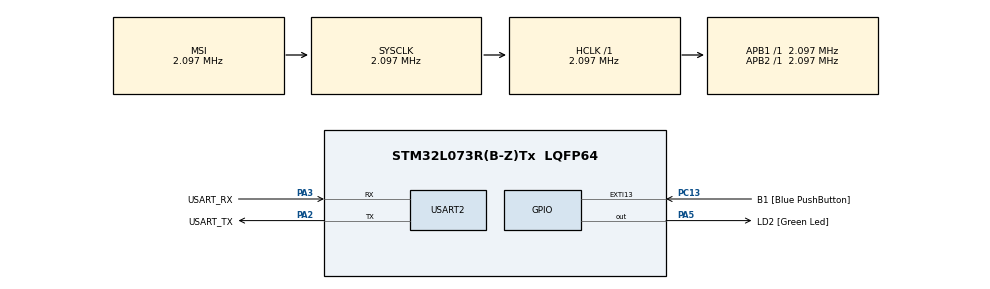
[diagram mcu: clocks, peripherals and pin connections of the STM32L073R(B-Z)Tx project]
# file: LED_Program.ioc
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Mcu.Family=STM32L0
Mcu.Name=STM32L073R(B-Z)Tx
Mcu.Package=LQFP64
PA13.GPIO_Label=TMS
PA13.Mode=Serial_Wire
PA13.Signal=SYS_SWDIO
PA14.GPIO_Label=TCK
PA14.Mode=Serial_Wire
PA14.Signal=SYS_SWCLK
PA2.GPIO_Label=USART_TX
PA2.Mode=Asynchronous
PA2.Signal=USART2_TX
PA3.GPIO_Label=USART_RX
PA3.Mode=Asynchronous
PA3.Signal=USART2_RX
PA5.GPIO_Label=LD2 [Green Led]
PA5.Signal=GPIO_Output
PC13.GPIO_Label=B1 [Blue PushButton]
PC13.GPIO_ModeDefaultEXTI=GPIO_MODE_IT_FALLING
PC13.Signal=GPXTI13
PC14-OSC32_IN.Mode=LSE-External-Oscillator
PC14-OSC32_IN.Signal=RCC_OSC32_IN
PC15-OSC32_OUT.Mode=LSE-External-Oscillator
PC15-OSC32_OUT.Signal=RCC_OSC32_OUT
PH0-OSC_IN.GPIO_Label=MCO
PH0-OSC_IN.Mode=HSE-External-Clock-Source
PH0-OSC_IN.Signal=RCC_OSC_IN
ProjectManager.HeapSize=0x200
ProjectManager.StackSize=0x400
ProjectManager.TargetToolchain=STM32CubeIDE
RCC.AHBFreq_Value=2097000
RCC.APB1Freq_Value=2097000
RCC.APB1TimFreq_Value=2097000
RCC.APB2Freq_Value=2097000
RCC.APB2TimFreq_Value=2097000
RCC.HSE_VALUE=8000000
RCC.HSI16_VALUE=16000000
RCC.HSI48_VALUE=48000000
RCC.HSI_VALUE=16000000
RCC.MSI_VALUE=2097000
RCC.SYSCLKFreq_VALUE=2097000
RCC.VCOOutputFreq_Value=48000000
USART2.VirtualMode-Asynchronous=VM_ASYNC
board=NUCLEO-L073RZ

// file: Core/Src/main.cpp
/* USER CODE BEGIN Header */
/**
  ******************************************************************************
  * @file           : main.c
  * @brief          : Main program body
  ******************************************************************************
  * @attention
  *
  * <h2><center>&copy; Copyright (c) 2020 STMicroelectronics.
  * All rights reserved.</center></h2>
  *
  * This software component is licensed by ST under BSD 3-Clause license,
  * the "License"; You may not use this file except in compliance with the
  * License. You may obtain a copy of the License at:
  *                        opensource.org/licenses/BSD-3-Clause
  *
  ******************************************************************************
  */
/* USER CODE END Header */
#include "main.h"

/* USER CODE BEGIN Includes */

#include <cstdint>

/* USER CODE END Includes */

UART_HandleTypeDef huart2;

void SystemClock_Config(void);
static void MX_GPIO_Init(void);
static void MX_USART2_UART_Init(void);

/* USER CODE BEGIN 0 */

//class led{
//public:
//	// use convenient class-specific typedefs
//	//book typedef std::uint8_t port_type;
//	typedef std::uint16_t pin_type;
//
//	// the led class constructor
//	led(GPIO_TypeDef * port	, pin_type pin) : port(port), pin(pin) {
//		// set the port pin value to low
//		HAL_GPIO_WritePin(port, pin, GPIO_PIN_RESET);
//	}
//
//	void toggle() const{
//		HAL_GPIO_TogglePin(port, pin);
//	}
//
//
//private:
//	// private member variables of the class
//	GPIO_TypeDef * const port;
//	const pin_type pin;
//
//};
//
//namespace {
//	// create led2 on A5
//	const led led2 {
//		LD2_GPIO_Port,
//		LD2_Pin
//	};
//}

//class led{
//public:
//	// use convenient class-specific typedefs
//	typedef std::uint32_t port_type;
//	typedef std::uint32_t bval_type;
//
//	// the led class constructor
//	led(const port_type p, const bval_type b)
//		: port(p), bval(b) {
//		// set the port pin value to low
//		*reinterpret_cast<volatile bval_type*>(port) &= static_cast<bval_type>(~bval);
//	}
//
//	void toggle() const{
//		// toggle led via direct memory access
//		*reinterpret_cast<volatile bval_type*>(port) ^= bval;
//	}
//
//private:
//	// private member variables of the class
//	const port_type port;
//	const bval_type bval;
//
//};
//
//namespace {
//	// create led2 on A5
//	const led led2 {
//		reinterpret_cast<led::port_type>(&GPIOA->ODR),
//		LD2_Pin
//	};
//}

template<typename port_type,
		typename bval_type,
		const port_type port,
		const bval_type bval>
class led_template{
public:
	led_template(){
		// set the port pin value to low
		*reinterpret_cast<volatile bval_type*>(port) &= static_cast<bval_type>(~bval);
	}

	void toggle() const{
		// toggle led via direct memory access
		*reinterpret_cast<volatile bval_type*>(port) ^= bval;
	}

};

namespace {
	// create led2 on A5
	const led_template<std::uint32_t,
						std::uint32_t,
						0x50000014,		// i don't know how toset it usun GPIOA
						LD2_Pin> led2;
}

/* USER CODE END 0 */

int main(void)
{

  /* MCU Configuration--------------------------------------------------------*/

  /* Reset of all peripherals, Initializes the Flash interface and the Systick. */
  HAL_Init();

  /* Configure the system clock */
  SystemClock_Config();

  /* Initialize all configured peripherals */
  MX_GPIO_Init();
  MX_USART2_UART_Init();

  /* Infinite loop */
  while (1)
  {
	  led2.toggle();
	  HAL_Delay(100);
  }
}

void SystemClock_Config(void)
{
  RCC_OscInitTypeDef RCC_OscInitStruct = {0};
  RCC_ClkInitTypeDef RCC_ClkInitStruct = {0};
  RCC_PeriphCLKInitTypeDef PeriphClkInit = {0};

  /** Configure the main internal regulator output voltage
  */
  __HAL_PWR_VOLTAGESCALING_CONFIG(PWR_REGULATOR_VOLTAGE_SCALE1);
  /** Initializes the RCC Oscillators according to the specified parameters
  * in the RCC_OscInitTypeDef structure.
  */
  RCC_OscInitStruct.OscillatorType = RCC_OSCILLATORTYPE_MSI;
  RCC_OscInitStruct.MSIState = RCC_MSI_ON;
  RCC_OscInitStruct.MSICalibrationValue = 0;
  RCC_OscInitStruct.MSIClockRange = RCC_MSIRANGE_5;
  RCC_OscInitStruct.PLL.PLLState = RCC_PLL_NONE;
  if (HAL_RCC_OscConfig(&RCC_OscInitStruct) != HAL_OK)
  {
    Error_Handler();
  }
  /** Initializes the CPU, AHB and APB buses clocks
  */
  RCC_ClkInitStruct.ClockType = RCC_CLOCKTYPE_HCLK|RCC_CLOCKTYPE_SYSCLK
                              |RCC_CLOCKTYPE_PCLK1|RCC_CLOCKTYPE_PCLK2;
  RCC_ClkInitStruct.SYSCLKSource = RCC_SYSCLKSOURCE_MSI;
  RCC_ClkInitStruct.AHBCLKDivider = RCC_SYSCLK_DIV1;
  RCC_ClkInitStruct.APB1CLKDivider = RCC_HCLK_DIV1;
  RCC_ClkInitStruct.APB2CLKDivider = RCC_HCLK_DIV1;

  if (HAL_RCC_ClockConfig(&RCC_ClkInitStruct, FLASH_LATENCY_0) != HAL_OK)
  {
    Error_Handler();
  }
  PeriphClkInit.PeriphClockSelection = RCC_PERIPHCLK_USART2;
  PeriphClkInit.Usart2ClockSelection = RCC_USART2CLKSOURCE_PCLK1;
  if (HAL_RCCEx_PeriphCLKConfig(&PeriphClkInit) != HAL_OK)
  {
    Error_Handler();
  }
}

static void MX_USART2_UART_Init(void)
{

  huart2.Instance = USART2;
  huart2.Init.BaudRate = 115200;
  huart2.Init.WordLength = UART_WORDLENGTH_8B;
  huart2.Init.StopBits = UART_STOPBITS_1;
  huart2.Init.Parity = UART_PARITY_NONE;
  huart2.Init.Mode = UART_MODE_TX_RX;
  huart2.Init.HwFlowCtl = UART_HWCONTROL_NONE;
  huart2.Init.OverSampling = UART_OVERSAMPLING_16;
  huart2.Init.OneBitSampling = UART_ONE_BIT_SAMPLE_DISABLE;
  huart2.AdvancedInit.AdvFeatureInit = UART_ADVFEATURE_NO_INIT;
  if (HAL_UART_Init(&huart2) != HAL_OK)
  {
    Error_Handler();
  }

}

static void MX_GPIO_Init(void)
{
  GPIO_InitTypeDef GPIO_InitStruct = {0};

  /* GPIO Ports Clock Enable */
  __HAL_RCC_GPIOC_CLK_ENABLE();
  __HAL_RCC_GPIOH_CLK_ENABLE();
  __HAL_RCC_GPIOA_CLK_ENABLE();

  /*Configure GPIO pin Output Level */
  HAL_GPIO_WritePin(LD2_GPIO_Port, LD2_Pin, GPIO_PIN_RESET);

  /*Configure GPIO pin : B1_Pin */
  GPIO_InitStruct.Pin = B1_Pin;
  GPIO_InitStruct.Mode = GPIO_MODE_IT_FALLING;
  GPIO_InitStruct.Pull = GPIO_NOPULL;
  HAL_GPIO_Init(B1_GPIO_Port, &GPIO_InitStruct);

  /*Configure GPIO pin : LD2_Pin */
  GPIO_InitStruct.Pin = LD2_Pin;
  GPIO_InitStruct.Mode = GPIO_MODE_OUTPUT_PP;
  GPIO_InitStruct.Pull = GPIO_NOPULL;
  GPIO_InitStruct.Speed = GPIO_SPEED_FREQ_LOW;
  HAL_GPIO_Init(LD2_GPIO_Port, &GPIO_InitStruct);

}

void Error_Handler(void)
{
  __disable_irq();
  while (1)
  {
  }
}

/************************ (C) COPYRIGHT STMicroelectronics *****END OF FILE****/
